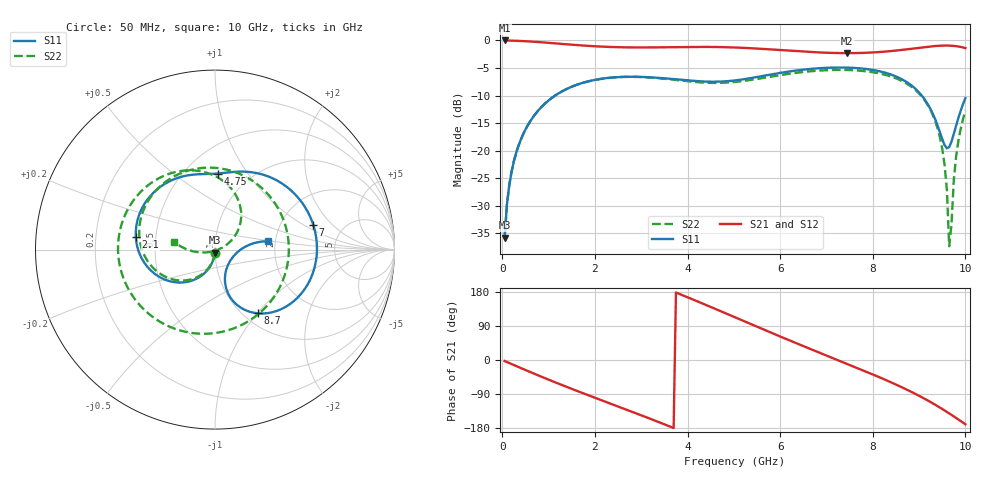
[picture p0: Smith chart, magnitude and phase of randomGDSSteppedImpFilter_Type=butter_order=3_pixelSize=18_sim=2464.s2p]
! freq	dB(S11)	phase(S11)	dB(S12)	phase(S12)
!  dB(S21)	phase(S21)	dB(S22)	phase(S22)
!S-par simulation data
#  GHz  S  DB  R 50
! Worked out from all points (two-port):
!   200 points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, 50 MHz to 10 GHz, reference 50 ohm
!   highest |S21| = 0.00 dB at 50 MHz (marker M1); lowest = -2.3 dB at 7.45 GHz (marker M2)
!   |S21| within 3 dB of the highest: start of sweep to end of sweep
!   lowest |S11| = -35.8 dB at 50 MHz (marker M3), VSWR 1.03, Z = 49.9 - j1.62 ohm
!   |S11| at or under -10 dB: start of sweep to 1.142 GHz; 9.057 GHz to end of sweep
!   |S22| runs from -37.3 to -5.3 dB; largest |S21 - S12| = 0
!   S11 on the Smith chart (normalised r, x): 50 MHz: 1.00, -0.03; 2.1 GHz: 0.38, +0.07; 4.75 GHz: 0.71, +0.74; 7 GHz: 3.04, +1.23; 8.7 GHz: 1.16, -1.01; 10 GHz: 1.83, +0.19
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0.05  -35.79 -92.5  -0.00 -2.7  -0.00 -2.7  -35.80 -92.7
0.2  -23.82 -100.6  -0.04 -10.7  -0.04 -10.7  -23.81 -101.5
0.5  -16.16 -116.0  -0.14 -26.4  -0.14 -26.4  -16.17 -117.9
1.1  -10.25 -145.1  -0.50 -56.8  -0.50 -56.8  -10.23 -149.6
1.75  -7.65 -174.3  -0.93 -88.0  -0.93 -88.0  -7.67 177.0
2.1  -7.00 170.9  -1.10 -104.2  -1.10 -104.2  -7.02 159.2
3.4  -6.80 123.3  -1.25 -164.8  -1.25 -164.8  -6.88 86.2
4.05  -7.28 104.4  -1.18 163.1  -1.18 163.1  -7.45 41.2
4.75  -7.45 87.8  -1.21 127.0  -1.21 127.0  -7.69 -14.0
5.05  -7.23 80.8  -1.29 111.3  -1.29 111.3  -7.51 -38.1
5.85  -6.10 57.6  -1.66 69.7  -1.66 69.7  -6.50 -97.6
6.7  -5.13 26.0  -2.12 26.8  -2.12 26.8  -5.56 -151.4
7  -4.97 14.1  -2.23 11.9  -2.23 11.9  -5.40 -168.8
7.45  -4.93 -4.1  -2.30 -10.3  -2.30 -10.3  -5.36 165.6
8.35  -6.06 -41.5  -1.96 -56.5  -1.96 -56.5  -6.43 113.3
8.7  -7.38 -56.1  -1.65 -76.1  -1.65 -76.1  -7.67 91.0
9.4  -15.45 -70.9  -0.98 -121.8  -0.98 -121.8  -15.96 38.5
9.55  -18.97 -50.4  -0.93 -133.1  -0.93 -133.1  -22.53 23.6
9.6  -19.57 -36.8  -0.93 -136.9  -0.93 -136.9  -27.08 16.1
9.65  -19.34 -21.9  -0.94 -140.9  -0.94 -140.9  -37.32 -8.2
9.8  -15.44 5.5  -1.04 -153.0  -1.04 -153.0  -21.03 -169.9
10  -10.46 8.9  -1.38 -169.6  -1.38 -169.6  -12.74 169.5
